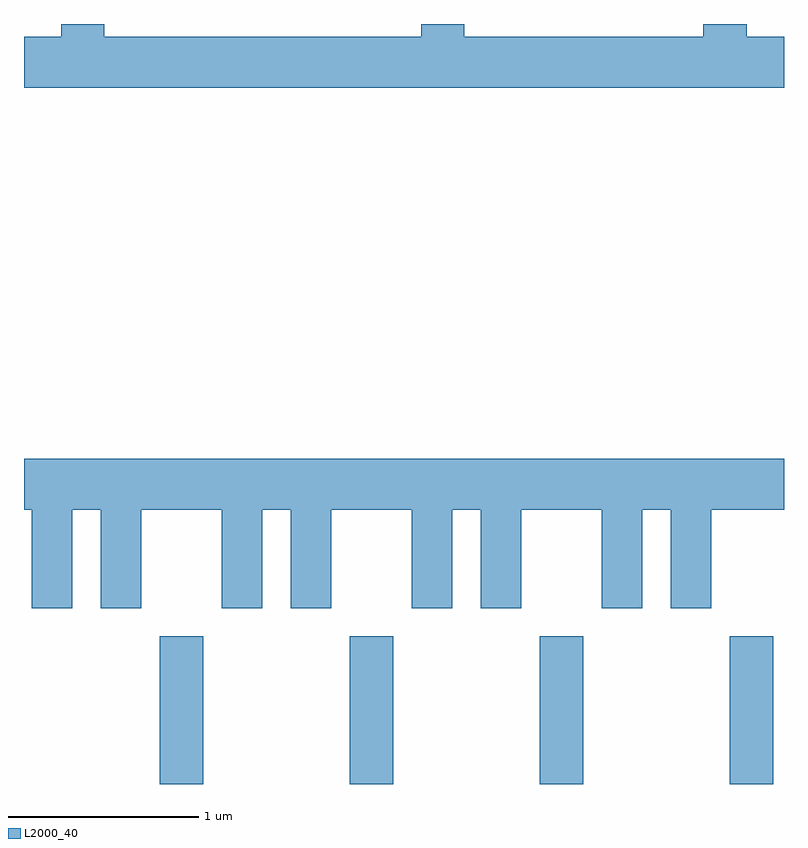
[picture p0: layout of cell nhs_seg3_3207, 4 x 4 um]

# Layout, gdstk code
import gdstk
lib = gdstk.Library(unit=1e-6, precision=1e-09)
def R(c, l, rs):  # rectangles x0, y0, x1, y1
    for r in rs: c.add(gdstk.rectangle(r[:2], r[2:], *l))
def A(c, l, x, y, w, h, nx, ny, dx, dy):  # array of equal rectangles
    R(c, l, [(x+i*dx, y+j*dy, x+i*dx+w, y+j*dy+h) for i in range(nx) for j in range(ny)])
def P(c, l, *ps):  # polygons
    for p in ps: c.add(gdstk.Polygon(p, *l))
L2000_40 = (2000, 40)

nhs_seg3_3207 = lib.new_cell('nhs_seg3_3207')
A(nhs_seg3_3207, L2000_40, 280.326, 1137.892, 0.228, 0.777, 4, 1, 1, 0)
P(nhs_seg3_3207, L2000_40, [(283.611,1141.824),(283.414,1141.824),(283.414,1141.892),(283.186,1141.892),(283.186,1141.824),(281.929,1141.824),(281.929,1141.892),(281.701,1141.892),(281.701,1141.824),(280.034,1141.824),(280.034,1141.892),(279.806,1141.892),(279.806,1141.824),(279.611,1141.824),(279.611,1141.556),(283.611,1141.556)],
  [(279.611,1139.336),(279.651,1139.336),(279.651,1138.816),(279.864,1138.816),(279.864,1139.336),(280.016,1139.336),(280.016,1138.816),(280.229,1138.816),(280.229,1139.336),(280.651,1139.336),(280.651,1138.816),(280.864,1138.816),(280.864,1139.336),(281.016,1139.336),(281.016,1138.816),(281.229,1138.816),(281.229,1139.336),(281.651,1139.336),(281.651,1138.816),(281.864,1138.816),(281.864,1139.336),(282.016,1139.336),(282.016,1138.816),(282.229,1138.816),(282.229,1139.336),(282.651,1139.336),(282.651,1138.816),(282.864,1138.816),(282.864,1139.336),(283.016,1139.336),(283.016,1138.816),(283.229,1138.816),(283.229,1139.336),(283.611,1139.336),(283.611,1139.604),(279.611,1139.604)])

lib.write_gds('nhs_seg3_3207.gds')
